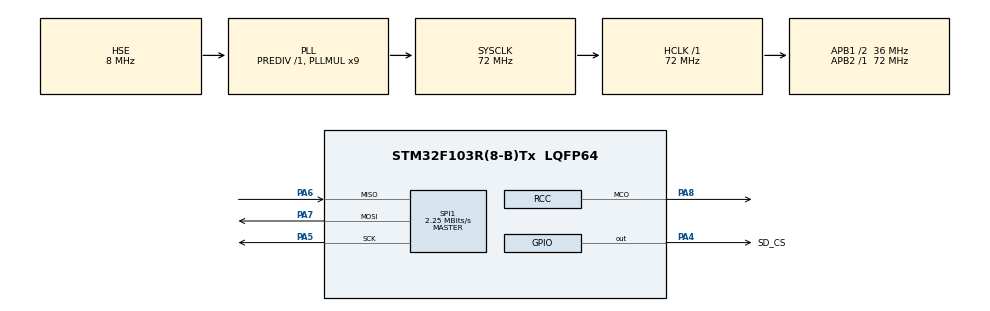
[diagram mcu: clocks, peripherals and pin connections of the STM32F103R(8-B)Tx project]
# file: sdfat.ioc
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FATFS._MAX_SS=4096
FATFS._USE_LFN=1
Mcu.Family=STM32F1
Mcu.Name=STM32F103R(8-B)Tx
Mcu.Package=LQFP64
NVIC.PriorityGroup=NVIC_PRIORITYGROUP_4
PA4.GPIO_Label=SD_CS
PA4.Signal=GPIO_Output
PA5.Mode=Full_Duplex_Master
PA5.Signal=SPI1_SCK
PA6.Mode=Full_Duplex_Master
PA6.Signal=SPI1_MISO
PA7.Mode=Full_Duplex_Master
PA7.Signal=SPI1_MOSI
PA8.Mode=Clock-out
PA8.Signal=RCC_MCO
PD0-OSC_IN.Mode=HSE-External-Oscillator
PD0-OSC_IN.Signal=RCC_OSC_IN
PD1-OSC_OUT.Mode=HSE-External-Oscillator
PD1-OSC_OUT.Signal=RCC_OSC_OUT
ProjectManager.HeapSize=0x200
ProjectManager.StackSize=0x400
ProjectManager.TargetToolchain=STM32CubeIDE
RCC.AHBFreq_Value=72000000
RCC.APB1CLKDivider=RCC_HCLK_DIV2
RCC.APB1Freq_Value=36000000
RCC.APB1TimFreq_Value=72000000
RCC.APB2Freq_Value=72000000
RCC.APB2TimFreq_Value=72000000
RCC.HCLKFreq_Value=72000000
RCC.PLLMUL=RCC_PLL_MUL9
RCC.PLLSourceVirtual=RCC_PLLSOURCE_HSE
RCC.RCC_MCOSource=RCC_MCO1SOURCE_PLLCLK
RCC.SYSCLKFreq_VALUE=72000000
RCC.SYSCLKSource=RCC_SYSCLKSOURCE_PLLCLK
RCC.USBFreq_Value=72000000
SPI1.BaudRatePrescaler=SPI_BAUDRATEPRESCALER_32
SPI1.CalculateBaudRate=2.25 MBits/s
SPI1.Direction=SPI_DIRECTION_2LINES
SPI1.Mode=SPI_MODE_MASTER
SPI1.VirtualType=VM_MASTER
VP_FATFS_VS_Generic.Mode=User_defined
board=custom

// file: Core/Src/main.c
/* USER CODE BEGIN Header */
/**
  ******************************************************************************
  * @file           : main.c
  * @brief          : Main program body
  ******************************************************************************
  * @attention
  *
  * Copyright (c) 2022 STMicroelectronics.
  * All rights reserved.
  *
  * This software is licensed under terms that can be found in the LICENSE file
  * in the root directory of this software component.
  * If no LICENSE file comes with this software, it is provided AS-IS.
  *
  ******************************************************************************
  */
/* USER CODE END Header */
#include "main.h"
#include "fatfs.h"

SPI_HandleTypeDef hspi1;

void SystemClock_Config(void);
static void MX_GPIO_Init(void);
static void MX_SPI1_Init(void);

/* USER CODE BEGIN 0 */
FATFS fs;  // file system
FIL fil; // File
FILINFO fno;
FRESULT fresult;  // result
UINT br, bw;  // File read/write count
/**** capacity related *****/
FATFS *pfs;
DWORD fre_clust;
uint32_t total, free_space;

/* USER CODE END 0 */

int main(void)
{

  /* MCU Configuration--------------------------------------------------------*/

  /* Reset of all peripherals, Initializes the Flash interface and the Systick. */
  HAL_Init();

  /* Configure the system clock */
  SystemClock_Config();

  /* Initialize all configured peripherals */
  MX_GPIO_Init();
  MX_SPI1_Init();
  MX_FATFS_Init();
  /* USER CODE BEGIN 2 */

  fresult = f_mount(&fs, "/", 1);

  /* Check free space */
  f_getfree("", &fre_clust, &pfs);

  total = (uint32_t)((pfs->n_fatent - 2) * pfs->csize * 0.5);

  free_space = (uint32_t)(fre_clust * pfs->csize * 0.5);

  /* Open file to write/ create a file if it doesn't exist */
  fresult = f_open(&fil, "file1.txt", FA_OPEN_ALWAYS | FA_READ | FA_WRITE);

  /* Writing text */
  f_puts("This data is from the FILE1.txt. And it was written using ...f_puts... ", &fil);

    /* Close file */
  fresult = f_close(&fil);

  /* USER CODE END 2 */

  /* Infinite loop */
  while (1)
  {

  }
}

void SystemClock_Config(void)
{
  RCC_OscInitTypeDef RCC_OscInitStruct = {0};
  RCC_ClkInitTypeDef RCC_ClkInitStruct = {0};

  /** Initializes the RCC Oscillators according to the specified parameters
  * in the RCC_OscInitTypeDef structure.
  */
  RCC_OscInitStruct.OscillatorType = RCC_OSCILLATORTYPE_HSE;
  RCC_OscInitStruct.HSEState = RCC_HSE_ON;
  RCC_OscInitStruct.HSEPredivValue = RCC_HSE_PREDIV_DIV1;
  RCC_OscInitStruct.HSIState = RCC_HSI_ON;
  RCC_OscInitStruct.PLL.PLLState = RCC_PLL_ON;
  RCC_OscInitStruct.PLL.PLLSource = RCC_PLLSOURCE_HSE;
  RCC_OscInitStruct.PLL.PLLMUL = RCC_PLL_MUL9;
  if (HAL_RCC_OscConfig(&RCC_OscInitStruct) != HAL_OK)
  {
    Error_Handler();
  }

  /** Initializes the CPU, AHB and APB buses clocks
  */
  RCC_ClkInitStruct.ClockType = RCC_CLOCKTYPE_HCLK|RCC_CLOCKTYPE_SYSCLK
                              |RCC_CLOCKTYPE_PCLK1|RCC_CLOCKTYPE_PCLK2;
  RCC_ClkInitStruct.SYSCLKSource = RCC_SYSCLKSOURCE_PLLCLK;
  RCC_ClkInitStruct.AHBCLKDivider = RCC_SYSCLK_DIV1;
  RCC_ClkInitStruct.APB1CLKDivider = RCC_HCLK_DIV2;
  RCC_ClkInitStruct.APB2CLKDivider = RCC_HCLK_DIV1;

  if (HAL_RCC_ClockConfig(&RCC_ClkInitStruct, FLASH_LATENCY_2) != HAL_OK)
  {
    Error_Handler();
  }
  HAL_RCC_MCOConfig(RCC_MCO, RCC_MCO1SOURCE_PLLCLK, RCC_MCODIV_1);
}

static void MX_SPI1_Init(void)
{

  /* SPI1 parameter configuration*/
  hspi1.Instance = SPI1;
  hspi1.Init.Mode = SPI_MODE_MASTER;
  hspi1.Init.Direction = SPI_DIRECTION_2LINES;
  hspi1.Init.DataSize = SPI_DATASIZE_8BIT;
  hspi1.Init.CLKPolarity = SPI_POLARITY_LOW;
  hspi1.Init.CLKPhase = SPI_PHASE_1EDGE;
  hspi1.Init.NSS = SPI_NSS_SOFT;
  hspi1.Init.BaudRatePrescaler = SPI_BAUDRATEPRESCALER_32;
  hspi1.Init.FirstBit = SPI_FIRSTBIT_MSB;
  hspi1.Init.TIMode = SPI_TIMODE_DISABLE;
  hspi1.Init.CRCCalculation = SPI_CRCCALCULATION_DISABLE;
  hspi1.Init.CRCPolynomial = 10;
  if (HAL_SPI_Init(&hspi1) != HAL_OK)
  {
    Error_Handler();
  }

}

static void MX_GPIO_Init(void)
{
  GPIO_InitTypeDef GPIO_InitStruct = {0};

  /* GPIO Ports Clock Enable */
  __HAL_RCC_GPIOD_CLK_ENABLE();
  __HAL_RCC_GPIOA_CLK_ENABLE();

  /*Configure GPIO pin Output Level */
  HAL_GPIO_WritePin(SD_CS_GPIO_Port, SD_CS_Pin, GPIO_PIN_RESET);

  /*Configure GPIO pin : SD_CS_Pin */
  GPIO_InitStruct.Pin = SD_CS_Pin;
  GPIO_InitStruct.Mode = GPIO_MODE_OUTPUT_PP;
  GPIO_InitStruct.Pull = GPIO_NOPULL;
  GPIO_InitStruct.Speed = GPIO_SPEED_FREQ_LOW;
  HAL_GPIO_Init(SD_CS_GPIO_Port, &GPIO_InitStruct);

  /*Configure GPIO pin : PA8 */
  GPIO_InitStruct.Pin = GPIO_PIN_8;
  GPIO_InitStruct.Mode = GPIO_MODE_AF_PP;
  GPIO_InitStruct.Speed = GPIO_SPEED_FREQ_LOW;
  HAL_GPIO_Init(GPIOA, &GPIO_InitStruct);

}

void Error_Handler(void)
{
  __disable_irq();
  while (1)
  {
  }
}
